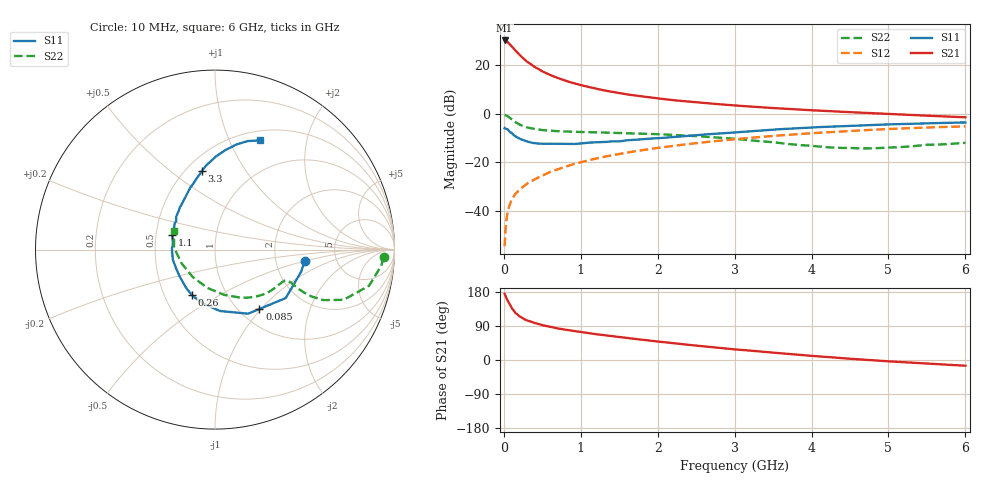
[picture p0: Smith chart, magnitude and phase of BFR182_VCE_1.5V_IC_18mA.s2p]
! Infineon Technologies  Discrete & RF Semiconductors
! BFR182
! VCE =  1.5 V,  IC =  18 mA
! Common Emitter S-Parameters:  Nov 2015
# GHz  S  MA  R  50
!  f  S11  S21  S12  S22
! GHz  MAG  ANG  MAG  ANG  MAG  ANG  MAG  ANG
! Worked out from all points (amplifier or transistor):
!   210 points, 10 MHz to 6 GHz, reference 50 ohm
!   highest |S21| = 30.0 dB at 10 MHz (marker M1)
!   |S21| within 3 dB of that: start of sweep to 119.3 MHz
!   unconditionally stable (mu >= 1): 424.8 MHz to 2.799 GHz
!   at 185 MHz: K = 0.73, MSG = 28.3 dB, |S12| = -31.8 dB
!   at 1.52 GHz: K = 1.09, MAG = 10.6 dB, |S12| = -16.5 dB
!   at 6 GHz: K = 0.93, MSG = 1.9 dB, |S12| = -5.3 dB
!   S11 on the Smith chart (normalised r, x): 10 MHz: 2.92, -0.51; 85 MHz: 1.23, -0.98; 260 MHz: 0.69, -0.38; 1.1 GHz: 0.61, +0.11; 3.3 GHz: 0.60, +0.65; 6 GHz: 0.61, +1.30
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0.01  0.5031 -7.5  31.57 174.8  0.0019 87.9  0.9403 -2.6
0.02  0.4958 -14.3  31.14 169.7  0.0038 82.4  0.9306 -5.6
0.05  0.4778 -34.4  29.31 155.9  0.0096 77.7  0.8817 -13.2
0.085  0.4132 -53.2  25.5 143.9  0.0147 73.0  0.8015 -18.6
0.1  0.4019 -62.7  24.29 137.7  0.0169 71.9  0.7696 -21.3
0.15  0.3435 -85.2  19.63 124.2  0.0225 67.2  0.6657 -25.0
0.2  0.3096 -101.1  16.21 115.8  0.0269 67.3  0.5985 -25.9
0.26  0.2826 -117.3  13.18 108.4  0.0323 67.6  0.5459 -25.7
0.3  0.2678 -126.8  11.64 104.4  0.0361 68.8  0.5196 -25.3
0.4  0.2469 -143.2  9.058 97.7  0.0445 69.9  0.4804 -24.1
0.5  0.2403 -155.5  7.343 92.0  0.0532 71.4  0.458 -23.4
0.7  0.2395 -175.4  5.36 83.4  0.0717 71.8  0.4343 -23.4
0.8  0.2396 178.3  4.707 79.9  0.0813 71.8  0.4277 -23.7
1.02  0.245 164.9  3.77 73.4  0.102 71.1  0.4171 -25.5
1.1  0.2531 160.6  3.515 71.0  0.1097 70.8  0.4138 -26.4
1.6  0.2829 139.8  2.473 57.9  0.1578 67.5  0.3954 -33.0
2.02  0.3131 126.4  2.029 48.4  0.1991 63.8  0.3761 -40.1
3.1  0.4208 102.6  1.427 26.5  0.307 52.3  0.2925 -64.8
3.3  0.4443 99.3  1.359 23.0  0.3268 49.8  0.2732 -71.2
4.1  0.5266 88.2  1.146 9.5  0.4034 40.0  0.2099 -106.2
5.1  0.6049 77.2  0.97 -4.6  0.4889 26.8  0.2031 -162.9
6  0.6569 67.8  0.837 -15.1  0.5447 14.2  0.2509 155.6
